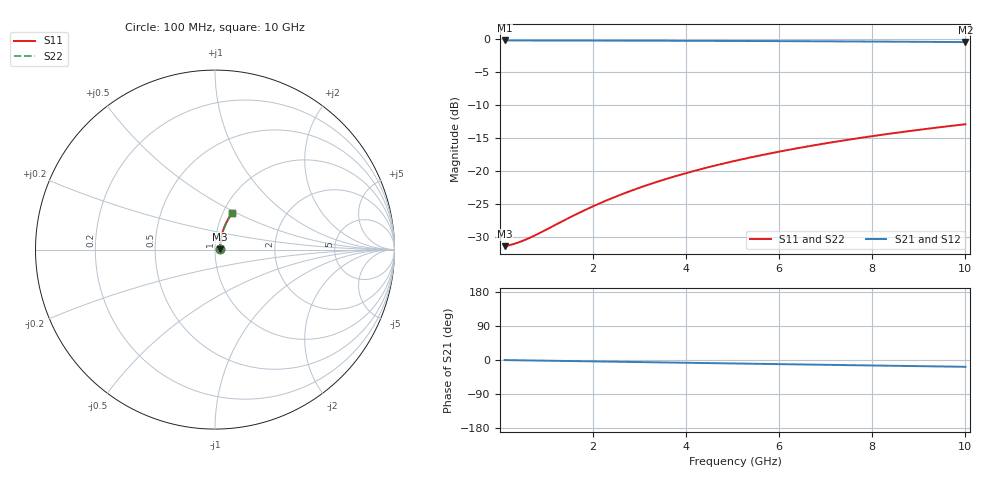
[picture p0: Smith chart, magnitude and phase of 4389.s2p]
# Hz S RI R 50.00
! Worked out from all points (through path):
!   100 points, 100 MHz to 10 GHz, reference 50 ohm
!   highest |S21| = -0.24 dB at 100 MHz (marker M1); lowest = -0.5 dB at 10 GHz (marker M2)
!   group delay of S21, straight-line fit = 4.99 ps
!   lowest |S11| = -31.3 dB at 100 MHz (marker M3), VSWR 1.06, Z = 52.8 + j0.237 ohm
!   |S11| at or under -10 dB: start of sweep to end of sweep
!   |S22| runs from -31.3 to -12.9 dB; largest |S21 - S12| = 0
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1e8  0.0271 0.00224  0.9729 -0.0031  0.9729 -0.0031  0.0271 0.00224
3e8  0.0274 0.00672  0.9725 -0.00931  0.9725 -0.00931  0.0274 0.00672
4e8  0.0276 0.00896  0.9724 -0.0124  0.9724 -0.0124  0.0276 0.00896
6e8  0.0279 0.0134  0.9721 -0.0186  0.9721 -0.0186  0.0279 0.0134
8e8  0.0282 0.0179  0.9717 -0.0248  0.9717 -0.0248  0.0282 0.0179
1.5e9  0.0297 0.0335  0.9702 -0.0464  0.9702 -0.0464  0.0297 0.0335
1.8e9  0.0305 0.0401  0.9693 -0.0557  0.9693 -0.0557  0.0305 0.0401
2.2e9  0.0318 0.049  0.968 -0.068  0.968 -0.068  0.0318 0.049
2.6e9  0.0333 0.0578  0.9665 -0.0802  0.9665 -0.0802  0.0333 0.0578
3e9  0.0349 0.0665  0.9647 -0.0924  0.9647 -0.0924  0.0349 0.0665
3.4e9  0.0368 0.0752  0.9627 -0.1045  0.9627 -0.1045  0.0368 0.0752
3.8e9  0.0389 0.0838  0.9605 -0.1166  0.9605 -0.1166  0.0389 0.0838
4.2e9  0.0413 0.0924  0.958 -0.1286  0.958 -0.1286  0.0413 0.0924
4.6e9  0.0438 0.1009  0.9554 -0.1406  0.9554 -0.1406  0.0438 0.1009
5.1e9  0.0472 0.1113  0.9518 -0.1554  0.9518 -0.1554  0.0472 0.1113
5.5e9  0.0502 0.1196  0.9486 -0.1671  0.9486 -0.1671  0.0502 0.1196
5.9e9  0.0534 0.1278  0.9453 -0.1788  0.9453 -0.1788  0.0534 0.1278
6.7e9  0.0603 0.1439  0.9379 -0.2018  0.9379 -0.2018  0.0603 0.1439
7.5e9  0.068 0.1595  0.9298 -0.2244  0.9298 -0.2244  0.068 0.1595
8.4e9  0.0775 0.1765  0.9198 -0.2492  0.9198 -0.2492  0.0775 0.1765
9.2e9  0.0867 0.191  0.91 -0.2706  0.91 -0.2706  0.0867 0.191
1e10  0.0965 0.205  0.8997 -0.2916  0.8997 -0.2916  0.0965 0.205
